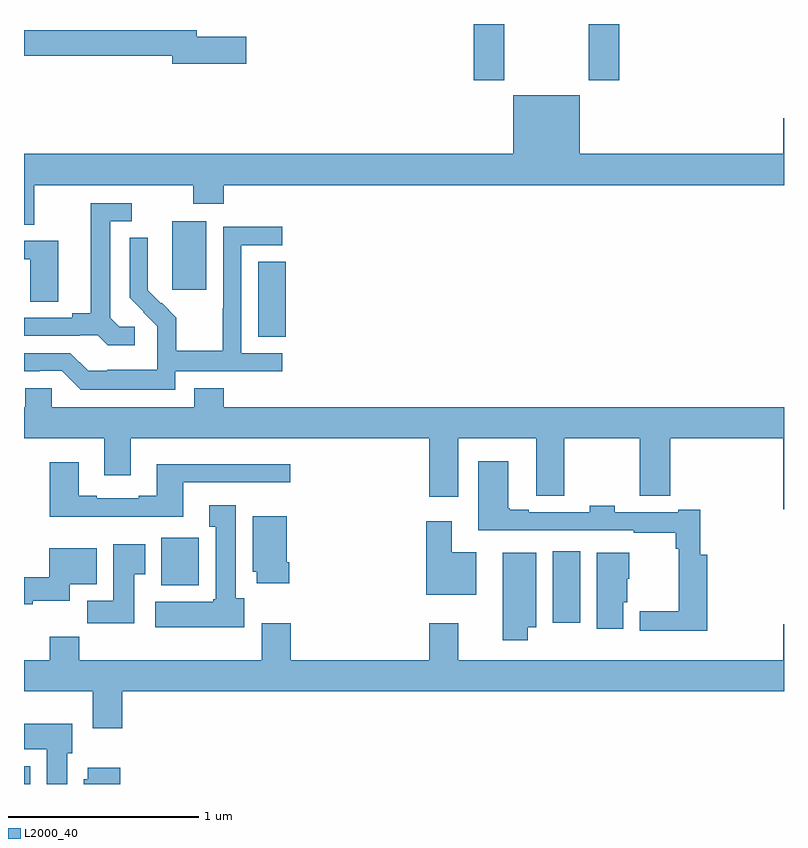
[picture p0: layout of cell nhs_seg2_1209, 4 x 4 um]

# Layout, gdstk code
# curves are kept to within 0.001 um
import gdstk
lib = gdstk.Library(unit=1e-6, precision=1e-09)
def R(c, l, rs):  # rectangles x0, y0, x1, y1
    for r in rs: c.add(gdstk.rectangle(r[:2], r[2:], *l))
def P(c, l, *ps):  # polygons
    for p in ps: c.add(gdstk.Polygon(p, *l))
L2000_40 = (2000, 40)

nhs_seg2_1209 = lib.new_cell('nhs_seg2_1209')
R(nhs_seg2_1209, L2000_40, [(173,661.8,173.032,661.894), (175.784,662.649,175.927,663.025), (173.723,662.846,173.919,663.097), (174.233,664.153,174.377,664.55), (173.78,664.401,173.959,664.762), (175.367,665.505,175.527,665.8), (175.972,665.505,176.132,665.8)])
P(nhs_seg2_1209, L2000_40, [(174.169,665.732),(173.908,665.732),(173.908,665.768),(173,665.768),(173,665.632),(173.78,665.632),(173.78,665.59),(174.169,665.59)],
  [(173.053,664.952),(173.89,664.952),(173.89,664.853),(174.05,664.853),(174.05,664.952),(177,664.952),(177,665.305),(176.996,665.305),(176.996,665.116),(175.924,665.116),(175.924,665.425),(175.574,665.425),(175.574,665.116),(173,665.116),(173,664.744),(173.053,664.744)],
  [(173.584,664.206),(173.502,664.206),(173.455,664.253),(173.455,664.761),(173.566,664.761),(173.566,664.857),(173.351,664.857),(173.351,664.277),(173.255,664.277),(173.255,664.254),(173,664.254),(173,664.158),(173.294,664.158),(173.294,664.161),(173.388,664.161),(173.44,664.109),(173.584,664.109)],
  [(173.796,663.972),(174.358,663.972),(174.358,664.068),(174.144,664.068),(174.144,664.635),(174.358,664.635),(174.358,664.734),(174.048,664.734),(174.048,664.304),(174.046,664.304),(174.046,664.081),(173.801,664.081),(173.801,664.255),(173.724,664.332),(173.721,664.329),(173.651,664.4),(173.652,664.676),(173.556,664.676),(173.556,664.358),(173.702,664.21),(173.702,664.113),(173.7,664.113),(173.7,663.979),(173.437,663.979),(173.437,663.975),(173.337,663.975),(173.244,664.068),(173,664.068),(173,663.972),(173.084,663.972),(173.084,663.975),(173.199,663.975),(173.299,663.875),(173.796,663.875)],
  [(173.179,664.659),(173,664.659),(173,664.563),(173.034,664.563),(173.034,664.339),(173.179,664.339)],
  [(173.145,663.882),(173.007,663.882),(173.007,663.784),(173,663.784),(173,663.62),(173.423,663.62),(173.423,663.426),(173.563,663.426),(173.563,663.62),(175.133,663.62),(175.133,663.312),(175.285,663.312),(175.285,663.62),(175.697,663.62),(175.697,663.316),(175.844,663.316),(175.844,663.62),(176.242,663.62),(176.242,663.316),(176.402,663.316),(176.402,663.62),(176.996,663.62),(176.996,663.246),(177,663.246),(177,663.784),(174.05,663.784),(174.05,663.883),(173.897,663.883),(173.897,663.784),(173.145,663.784)],
  [(176.597,663.007),(176.56,663.007),(176.56,663.244),(176.444,663.244),(176.444,663.231),(176.109,663.231),(176.109,663.264),(175.977,663.264),(175.977,663.231),(175.657,663.231),(175.657,663.244),(175.557,663.244),(175.557,663.252),(175.549,663.252),(175.549,663.499),(175.391,663.499),(175.391,663.135),(176.209,663.135),(176.209,663.123),(176.431,663.123),(176.431,663.038),(176.446,663.038),(176.446,662.708),(176.241,662.708),(176.241,662.606),(176.597,662.606)],
  [(173.839,663.387),(174.4,663.387),(174.4,663.484),(173.699,663.484),(173.699,663.316),(173.603,663.316),(173.603,663.303),(173.383,663.303),(173.383,663.316),(173.287,663.316),(173.287,663.493),(173.135,663.493),(173.135,663.206),(173.839,663.206)],
  [(174.16,662.778),(174.115,662.778),(174.115,663.268),(173.975,663.268),(173.975,663.155),(174.008,663.155),(174.008,662.772),(173.995,662.772),(173.995,662.758),(173.691,662.758),(173.691,662.624),(174.16,662.624)],
  [(174.395,662.968),(174.382,662.968),(174.382,663.208),(174.203,663.208),(174.203,662.916),(174.224,662.916),(174.224,662.856),(174.395,662.856)],
  [(175.381,663.019),(175.252,663.019),(175.252,663.184),(175.118,663.184),(175.118,662.795),(175.381,662.795)],
  [(173.581,662.905),(173.638,662.905),(173.638,663.061),(173.471,663.061),(173.471,662.764),(173.332,662.764),(173.332,662.646),(173.581,662.646)],
  [(173.046,662.765),(173.242,662.765),(173.242,662.852),(173.383,662.852),(173.383,663.04),(173.132,663.04),(173.132,662.888),(173,662.888),(173,662.746),(173.046,662.746)],
  [(175.65,662.624),(175.696,662.624),(175.696,663.016),(175.52,663.016),(175.52,662.556),(175.65,662.556)],
  [(176.155,662.757),(176.176,662.757),(176.176,662.88),(176.185,662.88),(176.185,663.016),(176.015,663.016),(176.015,662.616),(176.155,662.616)],
  [(173.516,662.288),(177,662.288),(177,662.641),(176.996,662.641),(176.996,662.452),(175.285,662.452),(175.285,662.647),(175.133,662.647),(175.133,662.452),(174.404,662.452),(174.404,662.647),(174.251,662.647),(174.251,662.452),(173.291,662.452),(173.291,662.576),(173.135,662.576),(173.135,662.452),(173,662.452),(173,662.288),(173.363,662.288),(173.363,662.094),(173.516,662.094)],
  [(173.227,661.962),(173.254,661.962),(173.254,662.116),(173,662.116),(173,661.982),(173.12,661.982),(173.12,661.8),(173.227,661.8)],
  [(173.507,661.885),(173.336,661.885),(173.336,661.824),(173.315,661.824),(173.315,661.8),(173.507,661.8)])

lib.write_gds('nhs_seg2_1209.gds')
